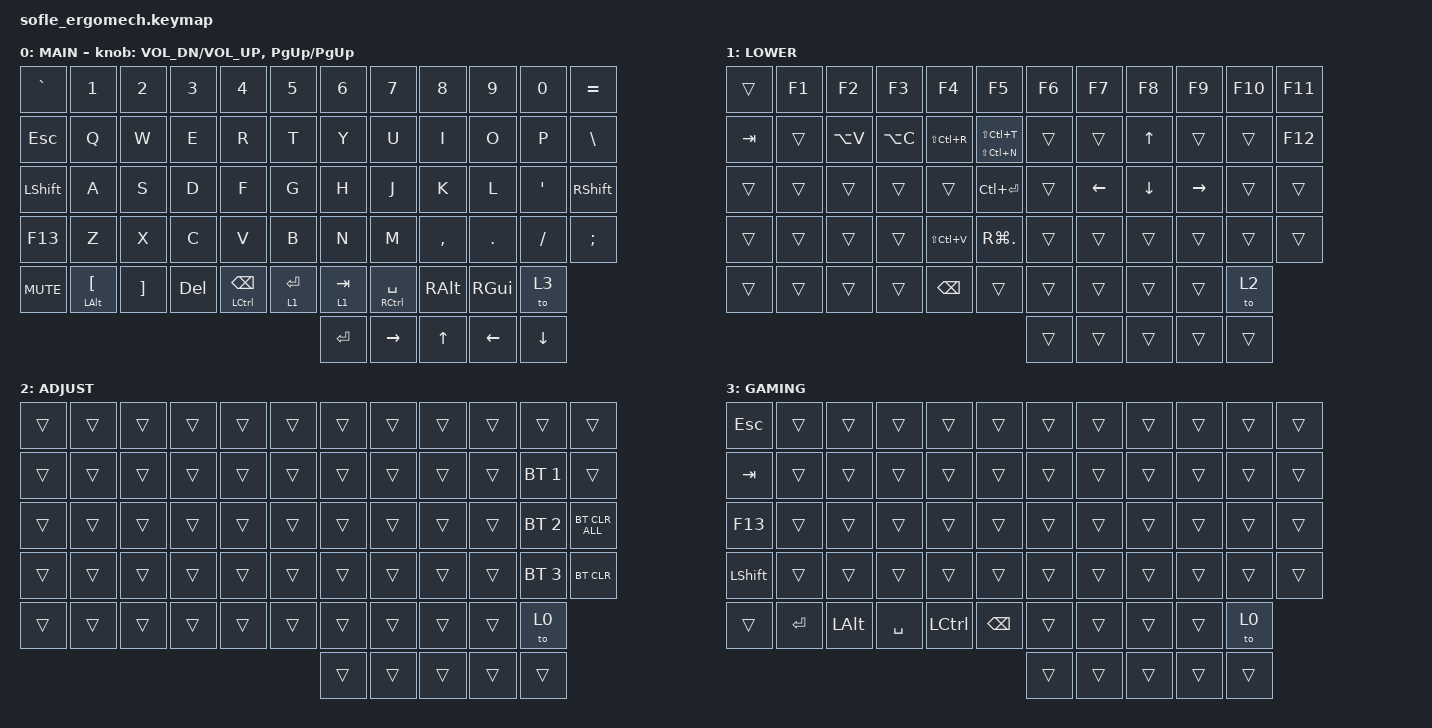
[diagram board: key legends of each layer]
/*
 * Copyright (c) 2020 The ZMK Contributors
 *
 * SPDX-License-Identifier: MIT
 */

#include <behaviors.dtsi>
#include <dt-bindings/zmk/bt.h>
#include <dt-bindings/zmk/keys.h>

#define BASE 0
#define LOWER 1
#define RAISE 2
#define ADJUST 3

/ {
    // Activate ADJUST layer by pressing raise and lower

    conditional_layers { compatible = "zmk,conditional-layers"; };

    combos {
        compatible = "zmk,combos";

        Combo_Hyphen {
            bindings = <&kp MINUS>;
            key-positions = <31 32>;
        };

        Combo_Parenthesis {
            bindings = <&Macro_Parenthesis>;
            key-positions = <19 20>;
        };

        Combo_Braces {
            bindings = <&Macro_Braces>;
            key-positions = <42 43>;
        };

        Combo_Brackets {
            bindings = <&Marco_Brackets>;
            key-positions = <43 44>;
        };

        Combo_Home {
            bindings = <&kp HOME>;
            key-positions = <27 28>;
        };

        Combo_End {
            bindings = <&kp END>;
            key-positions = <39 40>;
        };
    };

    macros {
        Macro_Braces: Macro_Braces {
            compatible = "zmk,behavior-macro";
            #binding-cells = <0>;
            bindings = <&kp LEFT_BRACE &kp RIGHT_BRACE &kp LEFT>;
            label = "MACRO_BRACES";
        };

        Marco_Brackets: Marco_Brackets {
            compatible = "zmk,behavior-macro";
            #binding-cells = <0>;
            bindings = <&kp LEFT_BRACKET &kp RIGHT_BRACKET &kp LEFT>;
            label = "MARCO_BRACKETS";
        };

        Macro_Parenthesis: Macro_Parenthesis {
            compatible = "zmk,behavior-macro";
            #binding-cells = <0>;
            bindings = <&kp LEFT_PARENTHESIS &kp RIGHT_PARENTHESIS &kp LEFT_ARROW>;
            label = "MACRO_PARENTHESIS";
        };

        Macro_Work_Email: Macro_Work_Email {
            compatible = "zmk,behavior-macro";
            #binding-cells = <0>;
            bindings = <&kp J &kp U &kp S &kp T &kp I &kp N &kp AT &kp V &kp I &kp P &kp I &kp T &kp I &kp N &kp C &kp DOT &kp C &kp O &kp M>;
            label = "MACRO_WORK_EMAIL";
        };
    };

    behaviors {
        mtkp: mtkp {
            compatible = "zmk,behavior-hold-tap";
            label = "MTKP";
            bindings = <&mo>, <&kp>;

            #binding-cells = <2>;
            tapping-term-ms = <175>;
            flavor = "balanced";
        };

        kpkp: kpkp {
            compatible = "zmk,behavior-hold-tap";
            label = "KPKP";
            bindings = <&kp>, <&kp>;

            #binding-cells = <2>;
            tapping-term-ms = <175>;
            flavor = "tap-preferred";
        };
    };

    keymap {
        compatible = "zmk,keymap";

        MAIN {
            label = "MAIN";

            // ------------------------------------------------------------------------------------------------------------
            // |   `   |  1  |  2  |  3   |  4   |  5   |                   |  6   |  7    |  8    |  9   |   0   |       |
            // |  ESC  |  Q  |  W  |  E   |  R   |  T   |                   |  Y   |  U    |  I    |  O   |   P   | BKSPC |
            // |  TAB  |  A  |  S  |  D   |  F   |  G   |                   |  H   |  J    |  K    |  L   |   ;   |   '   |
            // | SHIFT |  Z  |  X  |  C   |  V   |  B   |  MUTE  |  |       |  N   |  M    |  ,    |  .   |   /   | SHIFT |
            //               | GUI | ALT  | CTRL | LOWER|  ENTER |  | SPACE | RAISE| CTRL  | ALT   | GUI  |

            bindings = <
&kp GRAVE       &kp N1                       &kp N2             &kp N3      &kp N4                        &kp N5         &kp N6       &kp N7                     &kp N8         &kp N9         &kp N0            &kp EQUAL
&kp ESC         &kp Q                        &kp W              &kp E       &kp R                         &kp T          &kp Y        &kp U                      &kp I          &kp O          &kp P             &kp BACKSLASH
&kp LEFT_SHIFT  &kp A                        &kp S              &kp D       &kp F                         &kp G          &kp H        &kp J                      &kp K          &kp L          &kp SINGLE_QUOTE  &kp RIGHT_SHIFT
&kp F13         &kp Z                        &kp X              &kp C       &kp V                         &kp B          &kp N        &kp M                      &kp COMMA      &kp DOT        &kp FSLH          &kp SEMICOLON
&kp C_MUTE      &kpkp LEFT_ALT LEFT_BRACKET  &kp RIGHT_BRACKET  &kp DELETE  &kpkp LEFT_CONTROL BACKSPACE  &mtkp 1 ENTER  &mtkp 1 TAB  &kpkp RIGHT_CONTROL SPACE  &kp RIGHT_ALT  &kp RIGHT_GUI  &to 3
                                                                                                                         &kp ENTER    &kp RIGHT                  &kp UP_ARROW   &kp LEFT       &kp DOWN
            >;

            sensor-bindings =
                <&inc_dec_kp C_VOL_DN C_VOLUME_UP>,
                <&inc_dec_kp PG_UP PG_UP>;
        };

        LOWER {
            bindings = <
&trans   &kp F1  &kp F2     &kp F3     &kp F4         &kp F5                     &kp F6  &kp F7    &kp F8        &kp F9     &kp F10  &kp F11
&kp TAB  &trans  &kp LA(V)  &kp LA(C)  &kp LS(LC(R))  &kpkp LS(LC(N)) LS(LC(T))  &trans  &trans    &kp UP_ARROW  &trans     &trans   &kp F12
&trans   &trans  &trans     &trans     &trans         &kp LC(ENTER)              &trans  &kp LEFT  &kp DOWN      &kp RIGHT  &trans   &trans
&trans   &trans  &trans     &trans     &kp LS(LC(V))  &kp RG(PERIOD)             &trans  &trans    &trans        &trans     &trans   &trans
&trans   &trans  &trans     &trans     &kp BACKSPACE  &trans                     &trans  &trans    &trans        &trans     &to 2
                                                                                 &trans  &trans    &trans        &trans     &trans
            >;

            label = "LOWER";
        };

        ADJUST {
            bindings = <
&trans  &trans  &trans  &trans  &trans  &trans  &trans  &trans  &trans  &trans  &trans        &trans
&trans  &trans  &trans  &trans  &trans  &trans  &trans  &trans  &trans  &trans  &bt BT_SEL 1  &trans
&trans  &trans  &trans  &trans  &trans  &trans  &trans  &trans  &trans  &trans  &bt BT_SEL 2  &bt BT_CLR_ALL
&trans  &trans  &trans  &trans  &trans  &trans  &trans  &trans  &trans  &trans  &bt BT_SEL 3  &bt BT_CLR
&trans  &trans  &trans  &trans  &trans  &trans  &trans  &trans  &trans  &trans  &to 0
                                                &trans  &trans  &trans  &trans  &trans
            >;

            label = "ADJUST";
        };

        GAMING {
            bindings = <
&kp ESC    &trans     &trans    &trans     &trans     &trans    &trans  &trans  &trans  &trans  &trans  &trans
&kp TAB    &trans     &trans    &trans     &trans     &trans    &trans  &trans  &trans  &trans  &trans  &trans
&kp F13    &trans     &trans    &trans     &trans     &trans    &trans  &trans  &trans  &trans  &trans  &trans
&kp LSHFT  &trans     &trans    &trans     &trans     &trans    &trans  &trans  &trans  &trans  &trans  &trans
&trans     &kp ENTER  &kp LALT  &kp SPACE  &kp LCTRL  &kp BSPC  &trans  &trans  &trans  &trans  &to 0
                                                                &trans  &trans  &trans  &trans  &trans
            >;

            label = "GAMING";
        };
    };
};
